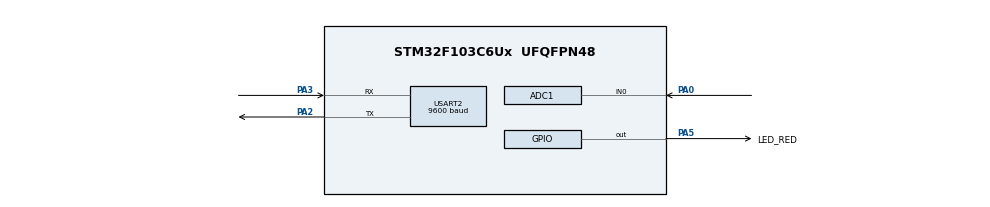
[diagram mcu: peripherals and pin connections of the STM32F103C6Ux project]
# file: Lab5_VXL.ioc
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ADC1.Channel-0\#ChannelRegularConversion=ADC_CHANNEL_0
ADC1.ContinuousConvMode=ENABLE
ADC1.NbrOfConversionFlag=1
ADC1.Rank-0\#ChannelRegularConversion=1
ADC1.SamplingTime-0\#ChannelRegularConversion=ADC_SAMPLETIME_1CYCLE_5
ADC1.master=1
Mcu.Family=STM32F1
Mcu.Name=STM32F103C6Ux
Mcu.Package=UFQFPN48
NVIC.PriorityGroup=NVIC_PRIORITYGROUP_4
NVIC.TIM2_IRQn=true\:0\:0\:false\:false\:true\:true\:true
NVIC.USART2_IRQn=true\:0\:0\:false\:false\:true\:true\:true
PA0-WKUP.Signal=ADCx_IN0
PA2.Mode=Asynchronous
PA2.Signal=USART2_TX
PA3.Mode=Asynchronous
PA3.Signal=USART2_RX
PA5.GPIO_Label=LED_RED
PA5.Signal=GPIO_Output
PA6.Signal=S_TIM3_CH1
ProjectManager.HeapSize=0x200
ProjectManager.StackSize=0x400
ProjectManager.TargetToolchain=STM32CubeIDE
RCC.APB1Freq_Value=8000000
RCC.APB2Freq_Value=8000000
SH.ADCx_IN0.0=ADC1_IN0,IN0
SH.S_TIM3_CH1.0=TIM3_CH1
TIM2.Period=9
TIM2.Prescaler=7999
USART2.BaudRate=9600
USART2.VirtualMode=VM_ASYNC
VP_SYS_VS_ND.Mode=No_Debug
VP_TIM2_VS_ClockSourceINT.Mode=Internal
board=custom

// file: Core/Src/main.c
/* USER CODE BEGIN Header */
/**
  ******************************************************************************
  * @file           : main.c
  * @brief          : Main program body
  ******************************************************************************
  * @attention
  *
  * <h2><center>&copy; Copyright (c) 2022 STMicroelectronics.
  * All rights reserved.</center></h2>
  *
  * This software component is licensed by ST under BSD 3-Clause license,
  * the "License"; You may not use this file except in compliance with the
  * License. You may obtain a copy of the License at:
  *                        opensource.org/licenses/BSD-3-Clause
  *
  ******************************************************************************
  */
/* USER CODE END Header */
#include "main.h"

/* USER CODE BEGIN Includes */
#include <stdio.h>
#include <string.h>
#include "software_timer.h"
/* USER CODE END Includes */

ADC_HandleTypeDef hadc1;

TIM_HandleTypeDef htim2;

UART_HandleTypeDef huart2;

void SystemClock_Config(void);
static void MX_GPIO_Init(void);
static void MX_ADC1_Init(void);
static void MX_USART2_UART_Init(void);
static void MX_TIM2_Init(void);

/* USER CODE BEGIN 0 */
#define INIT 1
#define START 2
#define R 3
#define S 4
#define T 5
#define O 6
#define K 7
#define END1 8
#define END2 9
int current_state = 1;
#define MAX_BUFFER_SIZE 30
uint8_t temp = 0;
uint8_t buffer[MAX_BUFFER_SIZE];
uint8_t index_buffer = 0;
uint8_t buffer_flag = 0;
uint32_t ADC_value = 0;
char str[40];
int Flag_RST = 0;
int Flag_OK = 0;

void HAL_UART_RxCpltCallback (UART_HandleTypeDef* huart ){
	if(huart->Instance == USART2){
		buffer[index_buffer++] = temp ;
		if(index_buffer == MAX_BUFFER_SIZE) index_buffer = 0;
		buffer_flag = 1;
		HAL_UART_Receive_IT(&huart2, &temp, 1) ;
	}
}

void command_parser_fsm () {
	switch(current_state){
	case INIT:
		if(temp == (int)'!') current_state = START;
		else current_state = INIT;
		break;
	case START:
		if(temp == (int)'R') current_state = R;
		else if (temp == (int)'O') current_state = O;
		else if(temp == (int)'!') current_state = START;
		else current_state = INIT;
		break;
	case R:
		if(temp == (int)'S') current_state = S;
		else if(temp == (int)'!') current_state = START;
		else current_state = INIT;
		break;
	case S:
		if(temp == (int)'T') current_state = T;
		else if(temp == (int)'!') current_state = START;
		else current_state = INIT;
		break;
	case T:
		if(temp == (int)'#') {
			Flag_RST = 1;
			current_state = END1;
		}
		else if(temp == (int)'!') current_state = START;
		else current_state = INIT;
		break;
	case O:
		if(temp == (int)'K') current_state = K;
		else if(temp == (int)'!') current_state = START;
		else current_state = INIT;
		break;
	case K:
		if(temp == (int)'#') {
			Flag_OK = 1;
			current_state = END2;
		}
		else if(temp == (int)'!') current_state = START;
		else current_state = INIT;
		break;
	case END1:
		if(temp == (int)'!') current_state = START;
		else current_state = INIT;
		break;
	case END2:
		if(temp == (int)'!') current_state = START;
		else current_state = INIT;
		break;
	default:
		break;
	}
}

void uart_communiation_fsm(){
	if(Flag_RST == 1){
		if(timer0_flag == 1){
			HAL_UART_Transmit(&huart2, (uint8_t*)str, sprintf(str, "!ADC = %ld# \r\n", ADC_value ),1000);
			setTimer0(50);
		}
	}
	if(Flag_OK == 1){
		ADC_value = HAL_ADC_GetValue(&hadc1);
		Flag_OK = 0;
		Flag_RST = 0;
		timer0_flag = 1;
	}
}
/* USER CODE END 0 */

int main(void)
{

  /* MCU Configuration--------------------------------------------------------*/

  /* Reset of all peripherals, Initializes the Flash interface and the Systick. */
  HAL_Init();

  /* Configure the system clock */
  SystemClock_Config();

  /* Initialize all configured peripherals */
  MX_GPIO_Init();
  MX_ADC1_Init();
  MX_USART2_UART_Init();
  MX_TIM2_Init();
  /* USER CODE BEGIN 2 */
  HAL_TIM_Base_Start_IT(&htim2);
  HAL_UART_Receive_IT(&huart2, &temp, 1);
  /* USER CODE END 2 */

  /* Infinite loop */
  /* USER CODE BEGIN WHILE */
  HAL_ADC_Start(&hadc1);
  setTimer0(50);
  ADC_value = HAL_ADC_GetValue(&hadc1);
  while (1)
  {
    /* USER CODE END WHILE */

    /* USER CODE BEGIN 3 */
	  if(buffer_flag == 1) {
		  command_parser_fsm() ;
		  buffer_flag = 0;
	  }
	  uart_communiation_fsm () ;
  }
  /* USER CODE END 3 */
}

void SystemClock_Config(void)
{
  RCC_OscInitTypeDef RCC_OscInitStruct = {0};
  RCC_ClkInitTypeDef RCC_ClkInitStruct = {0};
  RCC_PeriphCLKInitTypeDef PeriphClkInit = {0};

  /** Initializes the RCC Oscillators according to the specified parameters
  * in the RCC_OscInitTypeDef structure.
  */
  RCC_OscInitStruct.OscillatorType = RCC_OSCILLATORTYPE_HSI;
  RCC_OscInitStruct.HSIState = RCC_HSI_ON;
  RCC_OscInitStruct.HSICalibrationValue = RCC_HSICALIBRATION_DEFAULT;
  RCC_OscInitStruct.PLL.PLLState = RCC_PLL_NONE;
  if (HAL_RCC_OscConfig(&RCC_OscInitStruct) != HAL_OK)
  {
    Error_Handler();
  }
  /** Initializes the CPU, AHB and APB buses clocks
  */
  RCC_ClkInitStruct.ClockType = RCC_CLOCKTYPE_HCLK|RCC_CLOCKTYPE_SYSCLK
                              |RCC_CLOCKTYPE_PCLK1|RCC_CLOCKTYPE_PCLK2;
  RCC_ClkInitStruct.SYSCLKSource = RCC_SYSCLKSOURCE_HSI;
  RCC_ClkInitStruct.AHBCLKDivider = RCC_SYSCLK_DIV1;
  RCC_ClkInitStruct.APB1CLKDivider = RCC_HCLK_DIV1;
  RCC_ClkInitStruct.APB2CLKDivider = RCC_HCLK_DIV1;

  if (HAL_RCC_ClockConfig(&RCC_ClkInitStruct, FLASH_LATENCY_0) != HAL_OK)
  {
    Error_Handler();
  }
  PeriphClkInit.PeriphClockSelection = RCC_PERIPHCLK_ADC;
  PeriphClkInit.AdcClockSelection = RCC_ADCPCLK2_DIV2;
  if (HAL_RCCEx_PeriphCLKConfig(&PeriphClkInit) != HAL_OK)
  {
    Error_Handler();
  }
}

static void MX_ADC1_Init(void)
{

  ADC_ChannelConfTypeDef sConfig = {0};

  /** Common config
  */
  hadc1.Instance = ADC1;
  hadc1.Init.ScanConvMode = ADC_SCAN_DISABLE;
  hadc1.Init.ContinuousConvMode = ENABLE;
  hadc1.Init.DiscontinuousConvMode = DISABLE;
  hadc1.Init.ExternalTrigConv = ADC_SOFTWARE_START;
  hadc1.Init.DataAlign = ADC_DATAALIGN_RIGHT;
  hadc1.Init.NbrOfConversion = 1;
  if (HAL_ADC_Init(&hadc1) != HAL_OK)
  {
    Error_Handler();
  }
  /** Configure Regular Channel
  */
  sConfig.Channel = ADC_CHANNEL_0;
  sConfig.Rank = ADC_REGULAR_RANK_1;
  sConfig.SamplingTime = ADC_SAMPLETIME_1CYCLE_5;
  if (HAL_ADC_ConfigChannel(&hadc1, &sConfig) != HAL_OK)
  {
    Error_Handler();
  }

}

static void MX_TIM2_Init(void)
{

  TIM_ClockConfigTypeDef sClockSourceConfig = {0};
  TIM_MasterConfigTypeDef sMasterConfig = {0};

  htim2.Instance = TIM2;
  htim2.Init.Prescaler = 7999;
  htim2.Init.CounterMode = TIM_COUNTERMODE_UP;
  htim2.Init.Period = 9;
  htim2.Init.ClockDivision = TIM_CLOCKDIVISION_DIV1;
  htim2.Init.AutoReloadPreload = TIM_AUTORELOAD_PRELOAD_DISABLE;
  if (HAL_TIM_Base_Init(&htim2) != HAL_OK)
  {
    Error_Handler();
  }
  sClockSourceConfig.ClockSource = TIM_CLOCKSOURCE_INTERNAL;
  if (HAL_TIM_ConfigClockSource(&htim2, &sClockSourceConfig) != HAL_OK)
  {
    Error_Handler();
  }
  sMasterConfig.MasterOutputTrigger = TIM_TRGO_RESET;
  sMasterConfig.MasterSlaveMode = TIM_MASTERSLAVEMODE_DISABLE;
  if (HAL_TIMEx_MasterConfigSynchronization(&htim2, &sMasterConfig) != HAL_OK)
  {
    Error_Handler();
  }

}

static void MX_USART2_UART_Init(void)
{

  huart2.Instance = USART2;
  huart2.Init.BaudRate = 9600;
  huart2.Init.WordLength = UART_WORDLENGTH_8B;
  huart2.Init.StopBits = UART_STOPBITS_1;
  huart2.Init.Parity = UART_PARITY_NONE;
  huart2.Init.Mode = UART_MODE_TX_RX;
  huart2.Init.HwFlowCtl = UART_HWCONTROL_NONE;
  huart2.Init.OverSampling = UART_OVERSAMPLING_16;
  if (HAL_UART_Init(&huart2) != HAL_OK)
  {
    Error_Handler();
  }

}

static void MX_GPIO_Init(void)
{
  GPIO_InitTypeDef GPIO_InitStruct = {0};

  /* GPIO Ports Clock Enable */
  __HAL_RCC_GPIOA_CLK_ENABLE();

  /*Configure GPIO pin Output Level */
  HAL_GPIO_WritePin(LED_RED_GPIO_Port, LED_RED_Pin, GPIO_PIN_RESET);

  /*Configure GPIO pin : LED_RED_Pin */
  GPIO_InitStruct.Pin = LED_RED_Pin;
  GPIO_InitStruct.Mode = GPIO_MODE_OUTPUT_PP;
  GPIO_InitStruct.Pull = GPIO_NOPULL;
  GPIO_InitStruct.Speed = GPIO_SPEED_FREQ_LOW;
  HAL_GPIO_Init(LED_RED_GPIO_Port, &GPIO_InitStruct);

  /*Configure GPIO pin : PA6 */
  GPIO_InitStruct.Pin = GPIO_PIN_6;
  GPIO_InitStruct.Mode = GPIO_MODE_AF_PP;
  GPIO_InitStruct.Speed = GPIO_SPEED_FREQ_LOW;
  HAL_GPIO_Init(GPIOA, &GPIO_InitStruct);

}

/* USER CODE BEGIN 4 */
void HAL_TIM_PeriodElapsedCallback(TIM_HandleTypeDef *htim){
	timer_run();
}
/* USER CODE END 4 */

void Error_Handler(void)
{
  __disable_irq();
  while (1)
  {
  }
}

/************************ (C) COPYRIGHT STMicroelectronics *****END OF FILE****/
